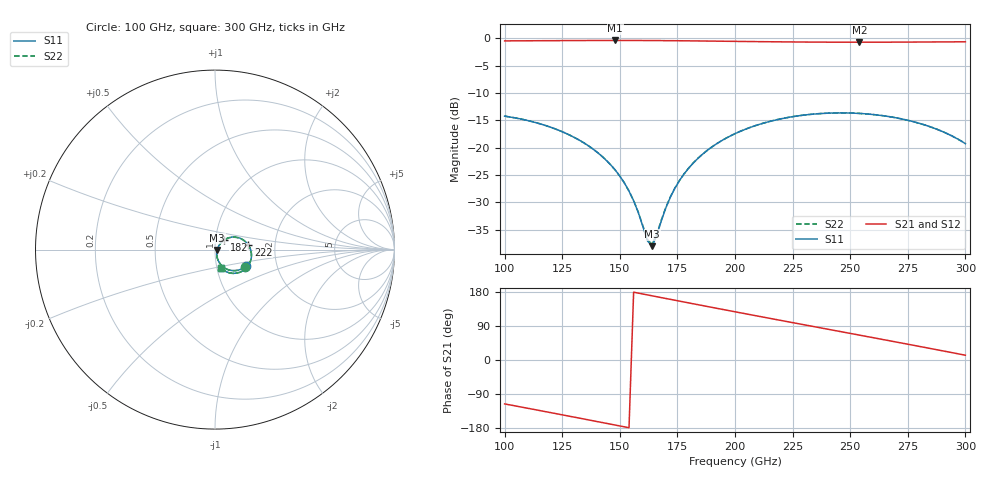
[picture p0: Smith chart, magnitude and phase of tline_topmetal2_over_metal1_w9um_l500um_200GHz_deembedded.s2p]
! Created with skrf 2.2.0 (http://scikit-rf.org).
# GHz S DB R 50.0
! Port[1] = P1
! Port[2] = P2
!freq dBS11 angS11 dBS21 angS21 dBS12 angS12 dBS22 angS22
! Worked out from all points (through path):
!   101 points, 100 GHz to 300 GHz, reference 50 ohm
!   highest |S21| = -0.40 dB at 148 GHz (marker M1); lowest = -0.7 dB at 254 GHz (marker M2)
!   group delay of S21, straight-line fit = 3.22 ps
!   lowest |S11| = -38.0 dB at 164 GHz (marker M3), VSWR 1.03, Z = 51.3 - j0.143 ohm
!   |S11| at or under -10 dB: start of sweep to end of sweep
!   |S22| runs from -37.7 to -13.6 dB; largest |S21 - S12| = 1.1e-14
!   S11 on the Smith chart (normalised r, x): 100 GHz: 1.38, -0.27; 182 GHz: 1.10, +0.12; 222 GHz: 1.45, +0.08; 300 GHz: 1.05, -0.22
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100  -14.24 -28.9  -0.47 -115.8  -0.47 -115.8  -14.24 -29.1
116  -15.72 -45.5  -0.44 -134.3  -0.44 -134.3  -15.72 -45.7
134  -19.02 -63.3  -0.41 -155.2  -0.41 -155.2  -19.02 -63.4
142  -21.48 -70.1  -0.40 -164.6  -0.40 -164.6  -21.48 -70.1
148  -24.10 -73.7  -0.40 -171.7  -0.40 -171.7  -24.09 -73.7
154  -27.95 -73.8  -0.40 -178.8  -0.40 -178.8  -27.93 -73.6
158  -31.84 -67.2  -0.40 176.5  -0.40 176.5  -31.78 -66.7
162  -37.05 -38.3  -0.41 171.8  -0.41 171.8  -36.80 -37.6
164  -38.02 -6.4  -0.41 169.4  -0.41 169.4  -37.69 -6.8
166  -36.12 21.7  -0.42 167.0  -0.42 167.0  -35.88 20.4
168  -33.40 36.7  -0.42 164.7  -0.42 164.7  -33.26 35.3
174  -27.36 48.8  -0.44 157.6  -0.44 157.6  -27.31 47.7
182  -22.76 46.9  -0.48 148.2  -0.48 148.2  -22.74 46.0
190  -19.87 40.7  -0.51 138.9  -0.51 138.9  -19.86 40.0
200  -17.45 31.2  -0.56 127.3  -0.56 127.3  -17.44 30.5
212  -15.56 18.9  -0.62 113.5  -0.62 113.5  -15.55 18.3
222  -14.56 8.4  -0.66 102.0  -0.66 102.0  -14.55 7.8
234  -13.87 -4.3  -0.69 88.4  -0.69 88.4  -13.86 -4.9
254  -13.74 -25.4  -0.72 65.7  -0.72 65.7  -13.74 -26.0
268  -14.40 -40.0  -0.70 49.7  -0.70 49.7  -14.40 -40.5
284  -16.08 -56.3  -0.67 31.3  -0.67 31.3  -16.08 -56.6
300  -19.26 -71.1  -0.64 12.6  -0.64 12.6  -19.25 -71.0
